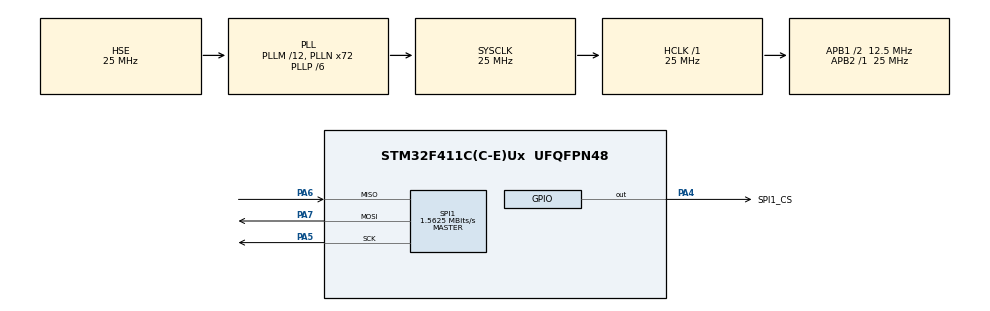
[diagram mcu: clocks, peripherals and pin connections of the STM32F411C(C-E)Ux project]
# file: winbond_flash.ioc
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Mcu.Family=STM32F4
Mcu.Name=STM32F411C(C-E)Ux
Mcu.Package=UFQFPN48
NVIC.PriorityGroup=NVIC_PRIORITYGROUP_4
PA13.Mode=Serial_Wire
PA13.Signal=SYS_JTMS-SWDIO
PA14.Mode=Serial_Wire
PA14.Signal=SYS_JTCK-SWCLK
PA4.GPIO_Label=SPI1_CS
PA4.GPIO_PuPd=GPIO_NOPULL
PA4.GPIO_Speed=GPIO_SPEED_FREQ_VERY_HIGH
PA4.PinState=GPIO_PIN_SET
PA4.Signal=GPIO_Output
PA5.Mode=Full_Duplex_Master
PA5.Signal=SPI1_SCK
PA6.Mode=Full_Duplex_Master
PA6.Signal=SPI1_MISO
PA7.Mode=Full_Duplex_Master
PA7.Signal=SPI1_MOSI
PH0\ -\ OSC_IN.Mode=HSE-External-Oscillator
PH0\ -\ OSC_IN.Signal=RCC_OSC_IN
PH1\ -\ OSC_OUT.Mode=HSE-External-Oscillator
PH1\ -\ OSC_OUT.Signal=RCC_OSC_OUT
ProjectManager.HeapSize=0x200
ProjectManager.StackSize=0x400
ProjectManager.TargetToolchain=CMake
RCC.48MHZClocksFreq_Value=37500000
RCC.AHBFreq_Value=25000000
RCC.APB1CLKDivider=RCC_HCLK_DIV2
RCC.APB1Freq_Value=12500000
RCC.APB1TimFreq_Value=25000000
RCC.APB2Freq_Value=25000000
RCC.APB2TimFreq_Value=25000000
RCC.CortexFreq_Value=25000000
RCC.HCLKFreq_Value=25000000
RCC.HSE_VALUE=25000000
RCC.HSI_VALUE=16000000
RCC.LSE_VALUE=32768
RCC.PLLM=12
RCC.PLLN=72
RCC.PLLP=RCC_PLLP_DIV6
RCC.PLLSourceVirtual=RCC_PLLSOURCE_HSE
RCC.SYSCLKFreq_VALUE=25000000
RCC.SYSCLKSource=RCC_SYSCLKSOURCE_PLLCLK
RCC.VCOOutputFreq_Value=150000000
SPI1.BaudRatePrescaler=SPI_BAUDRATEPRESCALER_16
SPI1.CLKPhase=SPI_PHASE_2EDGE
SPI1.CLKPolarity=SPI_POLARITY_HIGH
SPI1.CalculateBaudRate=1.5625 MBits/s
SPI1.Direction=SPI_DIRECTION_2LINES
SPI1.Mode=SPI_MODE_MASTER
SPI1.VirtualType=VM_MASTER
board=custom

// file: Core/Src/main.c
/* USER CODE BEGIN Header */
/**
  ******************************************************************************
  * @file           : main.c
  * @brief          : Main program body
  ******************************************************************************
  * @attention
  *
  * Copyright (c) 2025 STMicroelectronics.
  * All rights reserved.
  *
  * This software is licensed under terms that can be found in the LICENSE file
  * in the root directory of this software component.
  * If no LICENSE file comes with this software, it is provided AS-IS.
  *
  ******************************************************************************
  */
/* USER CODE END Header */
#include "main.h"

/* USER CODE BEGIN Includes */
#include "string.h"
#include "stdio.h"
#include "w25q128_ll.h"
/* USER CODE END Includes */

SPI_HandleTypeDef hspi1;

void SystemClock_Config(void);
static void MX_GPIO_Init(void);
static void MX_SPI1_Init(void);

/* USER CODE BEGIN 0 */
uint8_t receive_buffer[64] = {0};
/* USER CODE END 0 */

int main(void)
{
  /* USER CODE BEGIN 1 */
  uint32_t ID = 0;

  // Initialize the W25Q128 instance
  W25Q128_TypeDef w25;
  w25.cs_port = GPIOA;     // CS pin on port A
  w25.cs_pin = GPIO_PIN_4; // CS pin 4
  w25.hspi = &hspi1;       // Using SPI1 as a interface to flash

  /* USER CODE END 1 */

  /* MCU Configuration--------------------------------------------------------*/

  /* Reset of all peripherals, Initializes the Flash interface and the Systick. */
  HAL_Init();

  /* Configure the system clock */
  SystemClock_Config();

  /* Initialize all configured peripherals */
  MX_GPIO_Init();
  MX_SPI1_Init();

  /* Infinite loop */
  /* USER CODE BEGIN WHILE */
  uint8_t transmit_buffer[128];
  int counter_1_sec = 0;

  // Reset the flash
  W25Q128_Reset(&w25);

  // Read JEDEC ID from flash and store it in ID
  ID = W25Q128_ReadID(&w25, ID_JEDEC);

  // Read old data
  W25Q128_Read(&w25, 0, 0, 30, receive_buffer);

  // Erase data stored on sector 0
  W25Q128_EraseSector(&w25, 0);

  // Read data to ensure sector is erased
  W25Q128_Read(&w25, 0, 0, 30, receive_buffer);

  while (1)
  {
    /* USER CODE END WHILE */

    /* USER CODE BEGIN 3 */

    // Data that will be stored in flash later on

    sprintf((char *)transmit_buffer, "This is a 1 second counter: %d",
                                                                counter_1_sec);
    int data_length = strlen((char *)transmit_buffer);

    // Erase sector to ensure proper write operation
    W25Q128_EraseSector(&w25, 0);

    // Write data to flash
    W25Q128_Write(&w25, 0, 0, data_length, transmit_buffer);

    // Read data from flash
    W25Q128_Read(&w25, 0, 0, data_length, receive_buffer);

    // Increment counter stored in flash on every 1 second
    counter_1_sec++;

    HAL_Delay(1000);
  }
  /* USER CODE END 3 */
}

void SystemClock_Config(void)
{
  RCC_OscInitTypeDef RCC_OscInitStruct = {0};
  RCC_ClkInitTypeDef RCC_ClkInitStruct = {0};

  /** Configure the main internal regulator output voltage
  */
  __HAL_RCC_PWR_CLK_ENABLE();
  __HAL_PWR_VOLTAGESCALING_CONFIG(PWR_REGULATOR_VOLTAGE_SCALE1);

  /** Initializes the RCC Oscillators according to the specified parameters
  * in the RCC_OscInitTypeDef structure.
  */
  RCC_OscInitStruct.OscillatorType = RCC_OSCILLATORTYPE_HSE;
  RCC_OscInitStruct.HSEState = RCC_HSE_ON;
  RCC_OscInitStruct.PLL.PLLState = RCC_PLL_ON;
  RCC_OscInitStruct.PLL.PLLSource = RCC_PLLSOURCE_HSE;
  RCC_OscInitStruct.PLL.PLLM = 12;
  RCC_OscInitStruct.PLL.PLLN = 72;
  RCC_OscInitStruct.PLL.PLLP = RCC_PLLP_DIV6;
  RCC_OscInitStruct.PLL.PLLQ = 4;
  if (HAL_RCC_OscConfig(&RCC_OscInitStruct) != HAL_OK)
  {
    Error_Handler();
  }

  /** Initializes the CPU, AHB and APB buses clocks
  */
  RCC_ClkInitStruct.ClockType = RCC_CLOCKTYPE_HCLK|RCC_CLOCKTYPE_SYSCLK
                              |RCC_CLOCKTYPE_PCLK1|RCC_CLOCKTYPE_PCLK2;
  RCC_ClkInitStruct.SYSCLKSource = RCC_SYSCLKSOURCE_PLLCLK;
  RCC_ClkInitStruct.AHBCLKDivider = RCC_SYSCLK_DIV1;
  RCC_ClkInitStruct.APB1CLKDivider = RCC_HCLK_DIV2;
  RCC_ClkInitStruct.APB2CLKDivider = RCC_HCLK_DIV1;

  if (HAL_RCC_ClockConfig(&RCC_ClkInitStruct, FLASH_LATENCY_0) != HAL_OK)
  {
    Error_Handler();
  }
}

static void MX_SPI1_Init(void)
{

  /* SPI1 parameter configuration*/
  hspi1.Instance = SPI1;
  hspi1.Init.Mode = SPI_MODE_MASTER;
  hspi1.Init.Direction = SPI_DIRECTION_2LINES;
  hspi1.Init.DataSize = SPI_DATASIZE_8BIT;
  hspi1.Init.CLKPolarity = SPI_POLARITY_HIGH;
  hspi1.Init.CLKPhase = SPI_PHASE_2EDGE;
  hspi1.Init.NSS = SPI_NSS_SOFT;
  hspi1.Init.BaudRatePrescaler = SPI_BAUDRATEPRESCALER_16;
  hspi1.Init.FirstBit = SPI_FIRSTBIT_MSB;
  hspi1.Init.TIMode = SPI_TIMODE_DISABLE;
  hspi1.Init.CRCCalculation = SPI_CRCCALCULATION_DISABLE;
  hspi1.Init.CRCPolynomial = 10;
  if (HAL_SPI_Init(&hspi1) != HAL_OK)
  {
    Error_Handler();
  }

}

static void MX_GPIO_Init(void)
{
  GPIO_InitTypeDef GPIO_InitStruct = {0};

  /* GPIO Ports Clock Enable */
  __HAL_RCC_GPIOH_CLK_ENABLE();
  __HAL_RCC_GPIOA_CLK_ENABLE();

  /*Configure GPIO pin Output Level */
  HAL_GPIO_WritePin(SPI1_CS_GPIO_Port, SPI1_CS_Pin, GPIO_PIN_SET);

  /*Configure GPIO pin : SPI1_CS_Pin */
  GPIO_InitStruct.Pin = SPI1_CS_Pin;
  GPIO_InitStruct.Mode = GPIO_MODE_OUTPUT_PP;
  GPIO_InitStruct.Pull = GPIO_NOPULL;
  GPIO_InitStruct.Speed = GPIO_SPEED_FREQ_VERY_HIGH;
  HAL_GPIO_Init(SPI1_CS_GPIO_Port, &GPIO_InitStruct);

}

void Error_Handler(void)
{
  __disable_irq();
  while (1)
  {
  }
}
